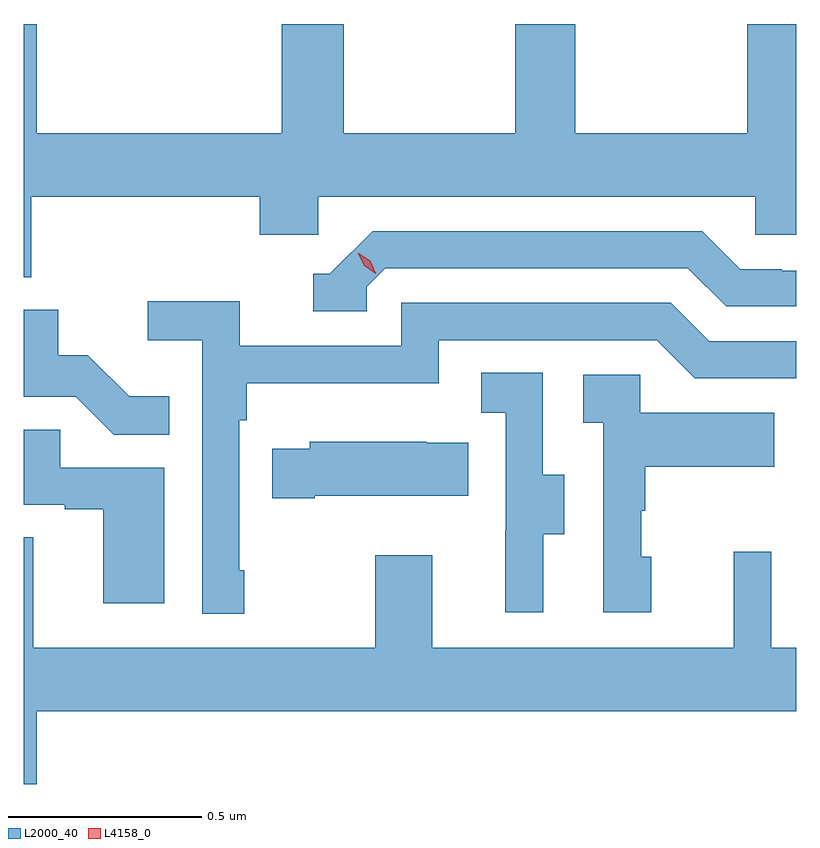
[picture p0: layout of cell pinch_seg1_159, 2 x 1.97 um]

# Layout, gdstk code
import gdstk
lib = gdstk.Library(unit=1e-6, precision=1e-09)
def P(c, l, *ps):  # polygons
    for p in ps: c.add(gdstk.Polygon(p, *l))
L2000_40 = (2000, 40)
L4158_0 = (4158, 0)

pinch_seg1_159 = lib.new_cell('pinch_seg1_159')
P(pinch_seg1_159, L2000_40, [(1142.18,543.74),(1142.771,543.74),(1142.771,543.642),(1142.922,543.642),(1142.922,543.74),(1144.053,543.74),(1144.053,543.642),(1144.16,543.642),(1144.16,544.187),(1144.033,544.187),(1144.033,543.904),(1143.588,543.904),(1143.588,544.187),(1143.433,544.187),(1143.433,543.904),(1142.988,543.904),(1142.988,544.187),(1142.828,544.187),(1142.828,543.904),(1142.194,543.904),(1142.194,544.187),(1142.16,544.187),(1142.16,543.532),(1142.18,543.532)],
  [(1143.048,543.507),(1143.096,543.555),(1143.879,543.555),(1143.978,543.456),(1144.16,543.456),(1144.16,543.549),(1144.122,543.549),(1144.122,543.552),(1144.015,543.552),(1143.916,543.651),(1143.063,543.651),(1142.952,543.54),(1142.909,543.54),(1142.909,543.444),(1143.048,543.444)],
  [(1142.731,542.773),(1142.718,542.773),(1142.718,543.161),(1142.738,543.161),(1142.738,543.257),(1143.234,543.257),(1143.234,543.369),(1143.798,543.369),(1143.897,543.27),(1144.16,543.27),(1144.16,543.366),(1143.934,543.366),(1143.835,543.465),(1143.138,543.465),(1143.138,543.354),(1142.72,543.354),(1142.72,543.47),(1142.481,543.47),(1142.481,543.368),(1142.622,543.368),(1142.622,542.661),(1142.731,542.661)],
  [(1142.537,543.223),(1142.433,543.223),(1142.326,543.33),(1142.25,543.33),(1142.25,543.447),(1142.16,543.447),(1142.16,543.222),(1142.295,543.222),(1142.393,543.124),(1142.537,543.124)],
  [(1143.505,542.866),(1143.559,542.866),(1143.559,543.021),(1143.504,543.021),(1143.504,543.284),(1143.345,543.284),(1143.345,543.181),(1143.408,543.181),(1143.408,542.877),(1143.407,542.877),(1143.407,542.664),(1143.505,542.664)],
  [(1143.784,542.808),(1143.759,542.808),(1143.759,542.927),(1143.769,542.927),(1143.769,543.041),(1144.103,543.041),(1144.103,543.181),(1143.756,543.181),(1143.756,543.279),(1143.609,543.279),(1143.609,543.155),(1143.66,543.155),(1143.66,542.664),(1143.784,542.664)],
  [(1142.524,543.039),(1142.255,543.039),(1142.255,543.137),(1142.16,543.137),(1142.16,542.943),(1142.267,542.943),(1142.267,542.931),(1142.366,542.931),(1142.366,542.688),(1142.524,542.688)],
  [(1142.914,542.966),(1143.311,542.966),(1143.311,543.103),(1143.203,543.103),(1143.203,543.106),(1142.901,543.106),(1142.901,543.088),(1142.803,543.088),(1142.803,542.959),(1142.914,542.959)],
  [(1142.194,542.408),(1144.16,542.408),(1144.16,542.572),(1144.095,542.572),(1144.095,542.821),(1143.998,542.821),(1143.998,542.572),(1143.217,542.572),(1143.217,542.812),(1143.07,542.812),(1143.07,542.572),(1142.185,542.572),(1142.185,542.858),(1142.16,542.858),(1142.16,542.22),(1142.194,542.22)])
P(pinch_seg1_159, L4158_0, [(1143.072,543.541),(1143.042,543.561),(1143.026,543.594),(1143.026,543.594),(1143.027,543.594),(1143.057,543.574),(1143.072,543.542),(1143.072,543.541)])

lib.write_gds('pinch_seg1_159.gds')
